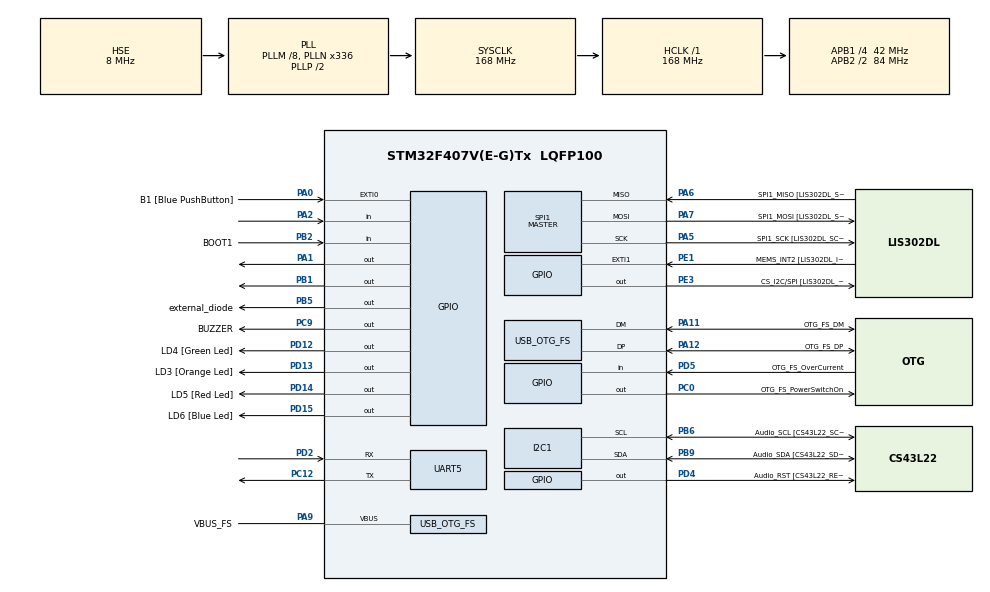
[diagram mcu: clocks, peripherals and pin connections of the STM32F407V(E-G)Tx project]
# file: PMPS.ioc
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Mcu.Family=STM32F4
Mcu.Name=STM32F407V(E-G)Tx
Mcu.Package=LQFP100
NVIC.OTG_FS_IRQn=true\:0\:0\:false\:false\:true\:true\:true\:true
NVIC.PriorityGroup=NVIC_PRIORITYGROUP_0
PA0-WKUP.GPIO_Label=B1 [Blue PushButton]
PA0-WKUP.GPIO_ModeDefaultEXTI=GPIO_MODE_EVT_RISING
PA0-WKUP.GPIO_PuPd=GPIO_NOPULL
PA0-WKUP.Signal=GPXTI0
PA1.Signal=GPIO_Output
PA10.GPIO_Label=OTG_FS_ID
PA10.GPIO_Mode=GPIO_MODE_AF_PP
PA10.GPIO_PuPd=GPIO_NOPULL
PA10.GPIO_Speed=GPIO_SPEED_FREQ_LOW
PA10.Signal=USB_OTG_FS_ID
PA11.GPIO_Label=OTG_FS_DM
PA11.GPIO_Mode=GPIO_MODE_AF_PP
PA11.GPIO_PuPd=GPIO_NOPULL
PA11.GPIO_Speed=GPIO_SPEED_FREQ_LOW
PA11.Mode=Host_Only
PA11.Signal=USB_OTG_FS_DM
PA12.GPIO_Label=OTG_FS_DP
PA12.GPIO_Mode=GPIO_MODE_AF_PP
PA12.GPIO_PuPd=GPIO_NOPULL
PA12.GPIO_Speed=GPIO_SPEED_FREQ_LOW
PA12.Mode=Host_Only
PA12.Signal=USB_OTG_FS_DP
PA13.Mode=Serial_Wire
PA13.Signal=SYS_JTMS-SWDIO
PA14.GPIO_Label=SWCLK
PA14.Mode=Serial_Wire
PA14.Signal=SYS_JTCK-SWCLK
PA2.Signal=GPIO_Input
PA4.GPIO_Label=I2S3_WS [CS43L22_LRCK]
PA4.GPIO_Mode=GPIO_MODE_AF_PP
PA4.GPIO_PuPd=GPIO_NOPULL
PA4.GPIO_Speed=GPIO_SPEED_FREQ_LOW
PA4.Signal=I2S3_WS
PA5.GPIO_Label=SPI1_SCK [LIS302DL_SCL/SPC]
PA5.GPIO_Mode=GPIO_MODE_AF_PP
PA5.GPIO_PuPd=GPIO_NOPULL
PA5.GPIO_Speed=GPIO_SPEED_FREQ_LOW
PA5.Mode=Full_Duplex_Master
PA5.Signal=SPI1_SCK
PA6.GPIO_Label=SPI1_MISO [LIS302DL_SDO]
PA6.GPIO_Mode=GPIO_MODE_AF_PP
PA6.GPIO_PuPd=GPIO_NOPULL
PA6.GPIO_Speed=GPIO_SPEED_FREQ_LOW
PA6.Mode=Full_Duplex_Master
PA6.Signal=SPI1_MISO
PA7.GPIO_Label=SPI1_MOSI [LIS302DL_SDA/SDI/SDO]
PA7.GPIO_Mode=GPIO_MODE_AF_PP
PA7.GPIO_PuPd=GPIO_NOPULL
PA7.GPIO_Speed=GPIO_SPEED_FREQ_LOW
PA7.Mode=Full_Duplex_Master
PA7.Signal=SPI1_MOSI
PA9.GPIO_Label=VBUS_FS
PA9.GPIO_Mode=GPIO_MODE_INPUT
PA9.GPIO_PuPd=GPIO_NOPULL
PA9.Mode=Activate_VBUS
PA9.Signal=USB_OTG_FS_VBUS
PB1.Signal=GPIO_Output
PB10.GPIO_Label=CLK_IN [MP45DT02_CLK]
PB10.GPIO_Mode=GPIO_MODE_AF_PP
PB10.GPIO_PuPd=GPIO_NOPULL
PB10.GPIO_Speed=GPIO_SPEED_FREQ_LOW
PB10.Signal=I2S2_CK
PB2.GPIO_Label=BOOT1
PB2.GPIO_Mode=GPIO_MODE_INPUT
PB2.GPIO_PuPd=GPIO_NOPULL
PB2.Signal=GPIO_Input
PB3.GPIO_Label=SWO
PB3.Signal=SYS_JTDO-SWO
PB5.GPIO_Label=external_diode
PB5.GPIO_Speed=GPIO_SPEED_FREQ_MEDIUM
PB5.Signal=GPIO_Output
PB6.GPIO_Label=Audio_SCL [CS43L22_SCL]
PB6.GPIO_Mode=GPIO_MODE_AF_OD
PB6.GPIO_Pu=GPIO_PULLUP
PB6.GPIO_PuPd=GPIO_NOPULL
PB6.GPIO_Speed=GPIO_SPEED_FREQ_LOW
PB6.Mode=I2C
PB6.Signal=I2C1_SCL
PB9.GPIO_Label=Audio_SDA [CS43L22_SDA]
PB9.GPIO_Mode=GPIO_MODE_AF_OD
PB9.GPIO_Pu=GPIO_PULLUP
PB9.GPIO_PuPd=GPIO_NOPULL
PB9.GPIO_Speed=GPIO_SPEED_FREQ_LOW
PB9.Mode=I2C
PB9.Signal=I2C1_SDA
PC0.GPIO_Label=OTG_FS_PowerSwitchOn
PC0.GPIO_PuPd=GPIO_NOPULL
PC0.GPIO_Speed=GPIO_SPEED_FREQ_LOW
PC0.PinState=GPIO_PIN_SET
PC0.Signal=GPIO_Output
PC10.GPIO_Label=I2S3_SCK [CS43L22_SCLK]
PC10.GPIO_Mode=GPIO_MODE_AF_PP
PC10.GPIO_PuPd=GPIO_NOPULL
PC10.GPIO_Speed=GPIO_SPEED_FREQ_LOW
PC10.Signal=I2S3_CK
PC12.Mode=Asynchronous
PC12.Signal=UART5_TX
PC14-OSC32_IN.GPIO_Label=PC14-OSC32_IN
PC14-OSC32_IN.Mode=LSE-External-Oscillator
PC14-OSC32_IN.Signal=RCC_OSC32_IN
PC15-OSC32_OUT.GPIO_Label=PC15-OSC32_OUT
PC15-OSC32_OUT.Mode=LSE-External-Oscillator
PC15-OSC32_OUT.Signal=RCC_OSC32_OUT
PC3.GPIO_Label=PDM_OUT [MP45DT02_DOUT]
PC3.GPIO_Mode=GPIO_MODE_AF_PP
PC3.GPIO_PuPd=GPIO_NOPULL
PC3.GPIO_Speed=GPIO_SPEED_FREQ_LOW
PC3.Signal=I2S2_SD
PC7.GPIO_Label=I2S3_MCK [CS43L22_MCLK]
PC7.GPIO_Mode=GPIO_MODE_AF_PP
PC7.GPIO_PuPd=GPIO_NOPULL
PC7.GPIO_Speed=GPIO_SPEED_FREQ_LOW
PC7.Signal=I2S3_MCK
PC9.GPIO_Label=BUZZER
PC9.GPIO_PuPd=GPIO_PULLDOWN
PC9.Signal=GPIO_Output
PD12.GPIO_Label=LD4 [Green Led]
PD12.GPIO_PuPd=GPIO_NOPULL
PD12.GPIO_Speed=GPIO_SPEED_FREQ_LOW
PD12.Signal=GPIO_Output
PD13.GPIO_Label=LD3 [Orange Led]
PD13.GPIO_PuPd=GPIO_NOPULL
PD13.GPIO_Speed=GPIO_SPEED_FREQ_LOW
PD13.Signal=GPIO_Output
PD14.GPIO_Label=LD5 [Red Led]
PD14.GPIO_PuPd=GPIO_NOPULL
PD14.GPIO_Speed=GPIO_SPEED_FREQ_LOW
PD14.Signal=GPIO_Output
PD15.GPIO_Label=LD6 [Blue Led]
PD15.GPIO_PuPd=GPIO_NOPULL
PD15.GPIO_Speed=GPIO_SPEED_FREQ_LOW
PD15.Signal=GPIO_Output
PD2.Mode=Asynchronous
PD2.Signal=UART5_RX
PD4.GPIO_Label=Audio_RST [CS43L22_RESET]
PD4.GPIO_PuPd=GPIO_NOPULL
PD4.GPIO_Speed=GPIO_SPEED_FREQ_LOW
PD4.Signal=GPIO_Output
PD5.GPIO_Label=OTG_FS_OverCurrent
PD5.GPIO_Mode=GPIO_MODE_INPUT
PD5.GPIO_PuPd=GPIO_NOPULL
PD5.Signal=GPIO_Input
PE1.GPIO_Label=MEMS_INT2 [LIS302DL_INT2]
PE1.GPIO_ModeDefaultEXTI=GPIO_MODE_EVT_RISING
PE1.GPIO_PuPd=GPIO_NOPULL
PE1.Signal=GPXTI1
PE3.GPIO_Label=CS_I2C/SPI [LIS302DL_CS_I2C/SPI]
PE3.GPIO_PuPd=GPIO_NOPULL
PE3.GPIO_Speed=GPIO_SPEED_FREQ_LOW
PE3.Signal=GPIO_Output
PH0-OSC_IN.GPIO_Label=PH0-OSC_IN
PH0-OSC_IN.Mode=HSE-External-Oscillator
PH0-OSC_IN.Signal=RCC_OSC_IN
PH1-OSC_OUT.GPIO_Label=PH1-OSC_OUT
PH1-OSC_OUT.Mode=HSE-External-Oscillator
PH1-OSC_OUT.Signal=RCC_OSC_OUT
ProjectManager.HeapSize=0x200
ProjectManager.StackSize=0x400
ProjectManager.TargetToolchain=STM32CubeIDE
RCC.48MHZClocksFreq_Value=48000000
RCC.AHBFreq_Value=168000000
RCC.APB1CLKDivider=RCC_HCLK_DIV4
RCC.APB1Freq_Value=42000000
RCC.APB1TimFreq_Value=84000000
RCC.APB2CLKDivider=RCC_HCLK_DIV2
RCC.APB2Freq_Value=84000000
RCC.APB2TimFreq_Value=168000000
RCC.CortexFreq_Value=168000000
RCC.HCLKFreq_Value=168000000
RCC.HSE_VALUE=8000000
RCC.HSI_VALUE=16000000
RCC.PLLM=8
RCC.PLLN=336
RCC.PLLQ=7
RCC.SYSCLKFreq_VALUE=168000000
RCC.SYSCLKSource=RCC_SYSCLKSOURCE_PLLCLK
RCC.VCOOutputFreq_Value=336000000
SPI1.BaudRatePrescaler-Full_Duplex_Master=SPI_BAUDRATEPRESCALER_2
SPI1.CalculateBaudRate-Full_Duplex_Master=42.0 MBits/s
SPI1.Direction=SPI_DIRECTION_2LINES
SPI1.Mode=SPI_MODE_MASTER
SPI1.Mode-Full_Duplex_Master=SPI_MODE_MASTER
SPI1.VirtualType=VM_MASTER
UART5.VirtualMode=Asynchronous
USB_HOST.BSP.number=1
USB_HOST.USBH_HandleTypeDef-CDC_FS=hUsbHostFS
USB_HOST.VirtualModeFS=Cdc
USB_HOST0.BSP.STBoard=false
USB_HOST0.BSP.api=Unknown
USB_HOST0.BSP.instance=PC0
USB_HOST0.BSP.ip=GPIO
USB_HOST0.BSP.mode=Output
USB_HOST0.BSP.name=Drive_VBUS_FS
USB_HOST0.BSP.solution=PC0
USB_OTG_FS.VirtualMode=Host_Only
USB_OTG_FS.phy_itface=HCD_PHY_EMBEDDED
VP_USB_HOST_VS_USB_HOST_CDC_FS.Mode=CDC_FS
board=STM32F407G-DISC1

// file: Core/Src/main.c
/* USER CODE BEGIN Header */
/**
  ******************************************************************************
  * @file           : main.c
  * @brief          : Main program body
  ******************************************************************************
  * @attention
  *
  * <h2><center>&copy; Copyright (c) 2019 STMicroelectronics.
  * All rights reserved.</center></h2>
  *
  * This software component is licensed by ST under BSD 3-Clause license,
  * the "License"; You may not use this file except in compliance with the
  * License. You may obtain a copy of the License at:
  *                        opensource.org/licenses/BSD-3-Clause
  *
  ******************************************************************************
  */
/* USER CODE END Header */
#include "main.h"
#include "usb_host.h"

/* USER CODE BEGIN Includes */
#include "dwt_stm32_delay.h"
/* USER CODE END Includes */

I2C_HandleTypeDef hi2c1;

SPI_HandleTypeDef hspi1;

UART_HandleTypeDef huart5;

void SystemClock_Config(void);
static void MX_GPIO_Init(void);
static void MX_I2C1_Init(void);
static void MX_SPI1_Init(void);
static void MX_UART5_Init(void);
void MX_USB_HOST_Process(void);

/* USER CODE BEGIN 0 */

uint32_t sensor_time;
float distance;
uint8_t data = 0;

uint32_t Read_HCSR04()
{
	uint32_t local_time = 0;

	HAL_GPIO_WritePin(GPIOA, GPIO_PIN_1, GPIO_PIN_SET);
	DWT_Delay_us(5);
	HAL_GPIO_WritePin(GPIOA, GPIO_PIN_1, GPIO_PIN_RESET);

	while(!(HAL_GPIO_ReadPin(GPIOA, GPIO_PIN_2)));

	while(HAL_GPIO_ReadPin(GPIOA, GPIO_PIN_2))
	{
		local_time++;
		DWT_Delay_us(1);
	}

	return local_time * 2;
}

void check_uart_for_q()
{
    if (HAL_UART_Receive(&huart5, &data, 1, 10) == HAL_OK)
    {
        if (data == 'q')
        {
            HAL_GPIO_WritePin(GPIOD, GPIO_PIN_All, GPIO_PIN_RESET);
            print_uart("-> 'q' key pressed. Stopping the system.\n");
            while (1);
        }
    }
}

/* USER CODE END 0 */

int main(void)
{

  /* MCU Configuration--------------------------------------------------------*/

  /* Reset of all peripherals, Initializes the Flash interface and the Systick. */
  HAL_Init();

  /* Configure the system clock */
  SystemClock_Config();

  /* Initialize all configured peripherals */
  MX_GPIO_Init();
  MX_I2C1_Init();
  MX_SPI1_Init();
  MX_USB_HOST_Init();
  MX_UART5_Init();
  /* USER CODE BEGIN 2 */
  DWT_Delay_Init();
  /* USER CODE END 2 */

  /* Infinite loop */
  while (1)
  {
    MX_USB_HOST_Process();

    /* USER CODE BEGIN 3 */

	  sensor_time = Read_HCSR04();
	  distance = (sensor_time * .034) / 2;

	  if(distance <= 3) {
		  HAL_GPIO_WritePin(GPIOD, GPIO_PIN_All, GPIO_PIN_SET);
		  print_uart("-> Priblizavate se objektu. Udaljenost izmedju vas je:  %f \n", distance);
		  HAL_GPIO_WritePin(BUZZER_GPIO_Port, BUZZER_Pin, 1);
		  HAL_Delay(500);
		  HAL_GPIO_WritePin(BUZZER_GPIO_Port, BUZZER_Pin, 0);
		  HAL_Delay(500);

	  }
	  else if(distance >= 4 && distance <= 13)
	  {
		  HAL_GPIO_WritePin(GPIOD, GPIO_PIN_12 | GPIO_PIN_13 | GPIO_PIN_14, GPIO_PIN_SET);
		  HAL_GPIO_WritePin(GPIOD, GPIO_PIN_15, GPIO_PIN_RESET);
		  print_uart("-> Priblizavate se objektu. Kriticna udaljenost izmedju vas je:  %f \n", distance);

	  }
	  else if(distance > 13 && distance <= 20)
	  {
		  HAL_GPIO_WritePin(GPIOD, GPIO_PIN_12 | GPIO_PIN_13, GPIO_PIN_SET);
		  HAL_GPIO_WritePin(GPIOD, GPIO_PIN_14 | GPIO_PIN_15, GPIO_PIN_RESET);
		  print_uart("-> Priblizavate se objektu. Udaljenost izmedju vas je:  %f \n", distance);

	  }
	  else if(distance > 20 && distance <= 25)
	  {
		  HAL_GPIO_WritePin(GPIOD, GPIO_PIN_12, GPIO_PIN_SET);
		  HAL_GPIO_WritePin(GPIOD, GPIO_PIN_13 | GPIO_PIN_14 | GPIO_PIN_15, GPIO_PIN_RESET);
		  print_uart("-> Priblizavate se objektu. Udaljenost izmedju vas je:  %f \n", distance);

	  }
	  else
	  {

		  HAL_GPIO_WritePin(GPIOD, GPIO_PIN_All, GPIO_PIN_RESET);

	  }

      check_uart_for_q();
	  HAL_Delay(100);
  }
  /* USER CODE END 3 */
}

void SystemClock_Config(void)
{
  RCC_OscInitTypeDef RCC_OscInitStruct = {0};
  RCC_ClkInitTypeDef RCC_ClkInitStruct = {0};

  /** Configure the main internal regulator output voltage
  */
  __HAL_RCC_PWR_CLK_ENABLE();
  __HAL_PWR_VOLTAGESCALING_CONFIG(PWR_REGULATOR_VOLTAGE_SCALE1);

  /** Initializes the RCC Oscillators according to the specified parameters
  * in the RCC_OscInitTypeDef structure.
  */
  RCC_OscInitStruct.OscillatorType = RCC_OSCILLATORTYPE_HSE;
  RCC_OscInitStruct.HSEState = RCC_HSE_ON;
  RCC_OscInitStruct.PLL.PLLState = RCC_PLL_ON;
  RCC_OscInitStruct.PLL.PLLSource = RCC_PLLSOURCE_HSE;
  RCC_OscInitStruct.PLL.PLLM = 8;
  RCC_OscInitStruct.PLL.PLLN = 336;
  RCC_OscInitStruct.PLL.PLLP = RCC_PLLP_DIV2;
  RCC_OscInitStruct.PLL.PLLQ = 7;
  if (HAL_RCC_OscConfig(&RCC_OscInitStruct) != HAL_OK)
  {
    Error_Handler();
  }

  /** Initializes the CPU, AHB and APB buses clocks
  */
  RCC_ClkInitStruct.ClockType = RCC_CLOCKTYPE_HCLK|RCC_CLOCKTYPE_SYSCLK
                              |RCC_CLOCKTYPE_PCLK1|RCC_CLOCKTYPE_PCLK2;
  RCC_ClkInitStruct.SYSCLKSource = RCC_SYSCLKSOURCE_PLLCLK;
  RCC_ClkInitStruct.AHBCLKDivider = RCC_SYSCLK_DIV1;
  RCC_ClkInitStruct.APB1CLKDivider = RCC_HCLK_DIV4;
  RCC_ClkInitStruct.APB2CLKDivider = RCC_HCLK_DIV2;

  if (HAL_RCC_ClockConfig(&RCC_ClkInitStruct, FLASH_LATENCY_5) != HAL_OK)
  {
    Error_Handler();
  }
}

static void MX_I2C1_Init(void)
{

  hi2c1.Instance = I2C1;
  hi2c1.Init.ClockSpeed = 100000;
  hi2c1.Init.DutyCycle = I2C_DUTYCYCLE_2;
  hi2c1.Init.OwnAddress1 = 0;
  hi2c1.Init.AddressingMode = I2C_ADDRESSINGMODE_7BIT;
  hi2c1.Init.DualAddressMode = I2C_DUALADDRESS_DISABLE;
  hi2c1.Init.OwnAddress2 = 0;
  hi2c1.Init.GeneralCallMode = I2C_GENERALCALL_DISABLE;
  hi2c1.Init.NoStretchMode = I2C_NOSTRETCH_DISABLE;
  if (HAL_I2C_Init(&hi2c1) != HAL_OK)
  {
    Error_Handler();
  }

}

static void MX_SPI1_Init(void)
{

  /* SPI1 parameter configuration*/
  hspi1.Instance = SPI1;
  hspi1.Init.Mode = SPI_MODE_MASTER;
  hspi1.Init.Direction = SPI_DIRECTION_2LINES;
  hspi1.Init.DataSize = SPI_DATASIZE_8BIT;
  hspi1.Init.CLKPolarity = SPI_POLARITY_LOW;
  hspi1.Init.CLKPhase = SPI_PHASE_1EDGE;
  hspi1.Init.NSS = SPI_NSS_SOFT;
  hspi1.Init.BaudRatePrescaler = SPI_BAUDRATEPRESCALER_2;
  hspi1.Init.FirstBit = SPI_FIRSTBIT_MSB;
  hspi1.Init.TIMode = SPI_TIMODE_DISABLE;
  hspi1.Init.CRCCalculation = SPI_CRCCALCULATION_DISABLE;
  hspi1.Init.CRCPolynomial = 10;
  if (HAL_SPI_Init(&hspi1) != HAL_OK)
  {
    Error_Handler();
  }

}

static void MX_UART5_Init(void)
{

  huart5.Instance = UART5;
  huart5.Init.BaudRate = 115200;
  huart5.Init.WordLength = UART_WORDLENGTH_8B;
  huart5.Init.StopBits = UART_STOPBITS_1;
  huart5.Init.Parity = UART_PARITY_NONE;
  huart5.Init.Mode = UART_MODE_TX_RX;
  huart5.Init.HwFlowCtl = UART_HWCONTROL_NONE;
  huart5.Init.OverSampling = UART_OVERSAMPLING_16;
  if (HAL_UART_Init(&huart5) != HAL_OK)
  {
    Error_Handler();
  }

}

static void MX_GPIO_Init(void)
{
  GPIO_InitTypeDef GPIO_InitStruct = {0};

  /* GPIO Ports Clock Enable */
  __HAL_RCC_GPIOE_CLK_ENABLE();
  __HAL_RCC_GPIOC_CLK_ENABLE();
  __HAL_RCC_GPIOH_CLK_ENABLE();
  __HAL_RCC_GPIOA_CLK_ENABLE();
  __HAL_RCC_GPIOB_CLK_ENABLE();
  __HAL_RCC_GPIOD_CLK_ENABLE();

  /*Configure GPIO pin Output Level */
  HAL_GPIO_WritePin(CS_I2C_SPI_GPIO_Port, CS_I2C_SPI_Pin, GPIO_PIN_RESET);

  /*Configure GPIO pin Output Level */
  HAL_GPIO_WritePin(OTG_FS_PowerSwitchOn_GPIO_Port, OTG_FS_PowerSwitchOn_Pin, GPIO_PIN_SET);

  /*Configure GPIO pin Output Level */
  HAL_GPIO_WritePin(GPIOA, GPIO_PIN_1, GPIO_PIN_RESET);

  /*Configure GPIO pin Output Level */
  HAL_GPIO_WritePin(GPIOB, GPIO_PIN_1|external_diode_Pin, GPIO_PIN_RESET);

  /*Configure GPIO pin Output Level */
  HAL_GPIO_WritePin(GPIOD, LD4_Pin|LD3_Pin|LD5_Pin|LD6_Pin
                          |Audio_RST_Pin, GPIO_PIN_RESET);

  /*Configure GPIO pin Output Level */
  HAL_GPIO_WritePin(BUZZER_GPIO_Port, BUZZER_Pin, GPIO_PIN_RESET);

  /*Configure GPIO pin : CS_I2C_SPI_Pin */
  GPIO_InitStruct.Pin = CS_I2C_SPI_Pin;
  GPIO_InitStruct.Mode = GPIO_MODE_OUTPUT_PP;
  GPIO_InitStruct.Pull = GPIO_NOPULL;
  GPIO_InitStruct.Speed = GPIO_SPEED_FREQ_LOW;
  HAL_GPIO_Init(CS_I2C_SPI_GPIO_Port, &GPIO_InitStruct);

  /*Configure GPIO pin : OTG_FS_PowerSwitchOn_Pin */
  GPIO_InitStruct.Pin = OTG_FS_PowerSwitchOn_Pin;
  GPIO_InitStruct.Mode = GPIO_MODE_OUTPUT_PP;
  GPIO_InitStruct.Pull = GPIO_NOPULL;
  GPIO_InitStruct.Speed = GPIO_SPEED_FREQ_LOW;
  HAL_GPIO_Init(OTG_FS_PowerSwitchOn_GPIO_Port, &GPIO_InitStruct);

  /*Configure GPIO pin : PDM_OUT_Pin */
  GPIO_InitStruct.Pin = PDM_OUT_Pin;
  GPIO_InitStruct.Mode = GPIO_MODE_AF_PP;
  GPIO_InitStruct.Pull = GPIO_NOPULL;
  GPIO_InitStruct.Speed = GPIO_SPEED_FREQ_LOW;
  GPIO_InitStruct.Alternate = GPIO_AF5_SPI2;
  HAL_GPIO_Init(PDM_OUT_GPIO_Port, &GPIO_InitStruct);

  /*Configure GPIO pin : B1_Pin */
  GPIO_InitStruct.Pin = B1_Pin;
  GPIO_InitStruct.Mode = GPIO_MODE_EVT_RISING;
  GPIO_InitStruct.Pull = GPIO_NOPULL;
  HAL_GPIO_Init(B1_GPIO_Port, &GPIO_InitStruct);

  /*Configure GPIO pin : PA1 */
  GPIO_InitStruct.Pin = GPIO_PIN_1;
  GPIO_InitStruct.Mode = GPIO_MODE_OUTPUT_PP;
  GPIO_InitStruct.Pull = GPIO_NOPULL;
  GPIO_InitStruct.Speed = GPIO_SPEED_FREQ_LOW;
  HAL_GPIO_Init(GPIOA, &GPIO_InitStruct);

  /*Configure GPIO pin : PA2 */
  GPIO_InitStruct.Pin = GPIO_PIN_2;
  GPIO_InitStruct.Mode = GPIO_MODE_INPUT;
  GPIO_InitStruct.Pull = GPIO_NOPULL;
  HAL_GPIO_Init(GPIOA, &GPIO_InitStruct);

  /*Configure GPIO pin : I2S3_WS_Pin */
  GPIO_InitStruct.Pin = I2S3_WS_Pin;
  GPIO_InitStruct.Mode = GPIO_MODE_AF_PP;
  GPIO_InitStruct.Pull = GPIO_NOPULL;
  GPIO_InitStruct.Speed = GPIO_SPEED_FREQ_LOW;
  GPIO_InitStruct.Alternate = GPIO_AF6_SPI3;
  HAL_GPIO_Init(I2S3_WS_GPIO_Port, &GPIO_InitStruct);

  /*Configure GPIO pin : PB1 */
  GPIO_InitStruct.Pin = GPIO_PIN_1;
  GPIO_InitStruct.Mode = GPIO_MODE_OUTPUT_PP;
  GPIO_InitStruct.Pull = GPIO_NOPULL;
  GPIO_InitStruct.Speed = GPIO_SPEED_FREQ_LOW;
  HAL_GPIO_Init(GPIOB, &GPIO_InitStruct);

  /*Configure GPIO pin : BOOT1_Pin */
  GPIO_InitStruct.Pin = BOOT1_Pin;
  GPIO_InitStruct.Mode = GPIO_MODE_INPUT;
  GPIO_InitStruct.Pull = GPIO_NOPULL;
  HAL_GPIO_Init(BOOT1_GPIO_Port, &GPIO_InitStruct);

  /*Configure GPIO pin : CLK_IN_Pin */
  GPIO_InitStruct.Pin = CLK_IN_Pin;
  GPIO_InitStruct.Mode = GPIO_MODE_AF_PP;
  GPIO_InitStruct.Pull = GPIO_NOPULL;
  GPIO_InitStruct.Speed = GPIO_SPEED_FREQ_LOW;
  GPIO_InitStruct.Alternate = GPIO_AF5_SPI2;
  HAL_GPIO_Init(CLK_IN_GPIO_Port, &GPIO_InitStruct);

  /*Configure GPIO pins : LD4_Pin LD3_Pin LD5_Pin LD6_Pin
                           Audio_RST_Pin */
  GPIO_InitStruct.Pin = LD4_Pin|LD3_Pin|LD5_Pin|LD6_Pin
                          |Audio_RST_Pin;
  GPIO_InitStruct.Mode = GPIO_MODE_OUTPUT_PP;
  GPIO_InitStruct.Pull = GPIO_NOPULL;
  GPIO_InitStruct.Speed = GPIO_SPEED_FREQ_LOW;
  HAL_GPIO_Init(GPIOD, &GPIO_InitStruct);

  /*Configure GPIO pins : I2S3_MCK_Pin I2S3_SCK_Pin */
  GPIO_InitStruct.Pin = I2S3_MCK_Pin|I2S3_SCK_Pin;
  GPIO_InitStruct.Mode = GPIO_MODE_AF_PP;
  GPIO_InitStruct.Pull = GPIO_NOPULL;
  GPIO_InitStruct.Speed = GPIO_SPEED_FREQ_LOW;
  GPIO_InitStruct.Alternate = GPIO_AF6_SPI3;
  HAL_GPIO_Init(GPIOC, &GPIO_InitStruct);

  /*Configure GPIO pin : BUZZER_Pin */
  GPIO_InitStruct.Pin = BUZZER_Pin;
  GPIO_InitStruct.Mode = GPIO_MODE_OUTPUT_PP;
  GPIO_InitStruct.Pull = GPIO_PULLDOWN;
  GPIO_InitStruct.Speed = GPIO_SPEED_FREQ_LOW;
  HAL_GPIO_Init(BUZZER_GPIO_Port, &GPIO_InitStruct);

  /*Configure GPIO pin : OTG_FS_OverCurrent_Pin */
  GPIO_InitStruct.Pin = OTG_FS_OverCurrent_Pin;
  GPIO_InitStruct.Mode = GPIO_MODE_INPUT;
  GPIO_InitStruct.Pull = GPIO_NOPULL;
  HAL_GPIO_Init(OTG_FS_OverCurrent_GPIO_Port, &GPIO_InitStruct);

  /*Configure GPIO pin : external_diode_Pin */
  GPIO_InitStruct.Pin = external_diode_Pin;
  GPIO_InitStruct.Mode = GPIO_MODE_OUTPUT_PP;
  GPIO_InitStruct.Pull = GPIO_NOPULL;
  GPIO_InitStruct.Speed = GPIO_SPEED_FREQ_MEDIUM;
  HAL_GPIO_Init(external_diode_GPIO_Port, &GPIO_InitStruct);

  /*Configure GPIO pin : MEMS_INT2_Pin */
  GPIO_InitStruct.Pin = MEMS_INT2_Pin;
  GPIO_InitStruct.Mode = GPIO_MODE_EVT_RISING;
  GPIO_InitStruct.Pull = GPIO_NOPULL;
  HAL_GPIO_Init(MEMS_INT2_GPIO_Port, &GPIO_InitStruct);

}

void Error_Handler(void)
{
}
